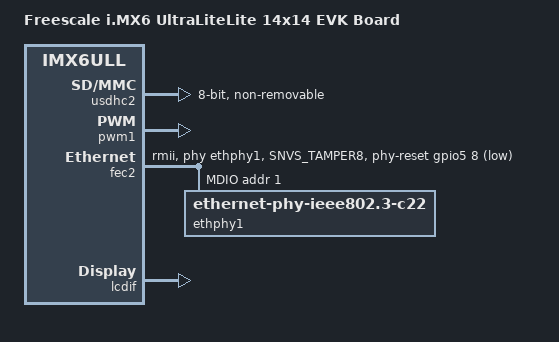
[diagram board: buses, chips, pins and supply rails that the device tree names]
// SPDX-License-Identifier: (GPL-2.0 OR MIT)
//
// Copyright (C) 2016 Freescale Semiconductor, Inc.

/dts-v1/;

#include "imx6ull.dtsi"
#include "imx6ul-14x14-evk.dtsi"

/ {
	model = "Freescale i.MX6 UltraLiteLite 14x14 EVK Board";
	compatible = "atk,imx6ull", "fsl,imx6ull-14x14-evk", "fsl,imx6ull";
};

&clks {
	assigned-clocks = <&clks IMX6UL_CLK_PLL3_PFD2>;
	assigned-clock-rates = <320000000>;
};

&usdhc2 {
    pinctrl-names = "default", "state_100mhz", "state_200mhz";
	pinctrl-0 = <&pinctrl_usdhc2>;
	non-removable;
	bus-width = <8>;
	status = "okay";
};

&pwm1 {
	pinctrl-names = "default";
	pinctrl-0 = <&pinctrl_pwm1>;
	status = "okay";
};

&fec1 {
	status = "disabled";
};

&fec2 {
	pinctrl-names = "default";
	pinctrl-0 = <&pinctrl_enet2
		&pinctrl_enet2_reset>;
	phy-mode = "rmii";
	phy-handle = <&ethphy1>;
	phy-reset-gpios = <&gpio5 8 GPIO_ACTIVE_LOW>;
	phy-reset-duration = <200>;
	status = "okay";
	mdio {
		#address-cells = <1>;
		#size-cells = <0>;

		ethphy1: ethernet-phy@1{
			compatible = "ethernet-phy-ieee802.3-c22";
			reg = <1>;
		};
	};
};

&pinctrl_lcdif_dat {
	fsl,pins = <
		MX6UL_PAD_LCD_DATA00__LCDIF_DATA00  0x49
		MX6UL_PAD_LCD_DATA01__LCDIF_DATA01  0x49
		MX6UL_PAD_LCD_DATA02__LCDIF_DATA02  0x49
		MX6UL_PAD_LCD_DATA03__LCDIF_DATA03  0x49
		MX6UL_PAD_LCD_DATA04__LCDIF_DATA04  0x49
		MX6UL_PAD_LCD_DATA05__LCDIF_DATA05  0x49
		MX6UL_PAD_LCD_DATA06__LCDIF_DATA06  0x49
		MX6UL_PAD_LCD_DATA07__LCDIF_DATA07  0x49
		MX6UL_PAD_LCD_DATA08__LCDIF_DATA08  0x49
		MX6UL_PAD_LCD_DATA09__LCDIF_DATA09  0x49
		MX6UL_PAD_LCD_DATA10__LCDIF_DATA10  0x49
		MX6UL_PAD_LCD_DATA11__LCDIF_DATA11  0x49
		MX6UL_PAD_LCD_DATA12__LCDIF_DATA12  0x49
		MX6UL_PAD_LCD_DATA13__LCDIF_DATA13  0x49
		MX6UL_PAD_LCD_DATA14__LCDIF_DATA14  0x49
		MX6UL_PAD_LCD_DATA15__LCDIF_DATA15  0x49
		MX6UL_PAD_LCD_DATA16__LCDIF_DATA16  0x49
		MX6UL_PAD_LCD_DATA17__LCDIF_DATA17  0x49
		MX6UL_PAD_LCD_DATA18__LCDIF_DATA18  0x49
		MX6UL_PAD_LCD_DATA19__LCDIF_DATA19  0x49
		MX6UL_PAD_LCD_DATA20__LCDIF_DATA20  0x49
		MX6UL_PAD_LCD_DATA21__LCDIF_DATA21  0x49
		MX6UL_PAD_LCD_DATA22__LCDIF_DATA22  0x49
		MX6UL_PAD_LCD_DATA23__LCDIF_DATA23  0x49
	>;
};

&lcdif {
	pinctrl-names = "default";
	pinctrl-0 = <&pinctrl_lcdif_dat
				&pinctrl_lcdif_ctrl>;
	display = <&display0>;
	status = "ok";
	display0: display{
		bits-per-pixel = <24>; /* RGB */
		bus-width = <24>;
		display-timings {
			native-mode = <&timing0>;
			timing0: timing0 {
				clock-frequency=<51200000>; /* Hz */
				hactive = <1024>;
				vactive = <600>;
				hfront-porch = <160>;
				hback-porch = <140>;
				hsync-len = <20>;
				vback-porch = <20>;
				vfront-porch = <12>;
				vsync-len = <3>;
				hsync-active = <0>;
				vsync-active = <0>;
				de-active = <1>;
				pixelclk-active = <0>;
			};
		};
	};
};

&iomuxc {
    pinctrl_enet2 {
	fsl,pins = <
		MX6UL_PAD_GPIO1_IO07__ENET2_MDC         0x1b0b0
		MX6UL_PAD_GPIO1_IO06__ENET2_MDIO        0x1b0b0
		MX6UL_PAD_ENET2_RX_EN__ENET2_RX_EN      0x1b0b0
		MX6UL_PAD_ENET2_RX_ER__ENET2_RX_ER      0x1b0b0
		MX6UL_PAD_ENET2_RX_ER__ENET2_RX_ER      0x1b0b0
		MX6UL_PAD_ENET2_RX_DATA0__ENET2_RDATA00 0x1b0b0
		MX6UL_PAD_ENET2_RX_DATA1__ENET2_RDATA01 0x1b0b0
		MX6UL_PAD_ENET2_TX_EN__ENET2_TX_EN      0x1b0b0
		MX6UL_PAD_ENET2_TX_DATA0__ENET2_TDATA00 0x1b0b0
		MX6UL_PAD_ENET2_TX_DATA1__ENET2_TDATA01 0x1b0b0
		MX6UL_PAD_ENET2_TX_CLK__ENET2_REF_CLK2   0x4001b009
		>;
    };
};

&iomuxc_snvs {
    pinctrl-names = "default_snvs";
    pinctrl_enet2_reset: enet2resetgrp {
        fsl,pins = <
            MX6ULL_PAD_SNVS_TAMPER8__GPIO5_IO08 0x79
            >;
    };
};

